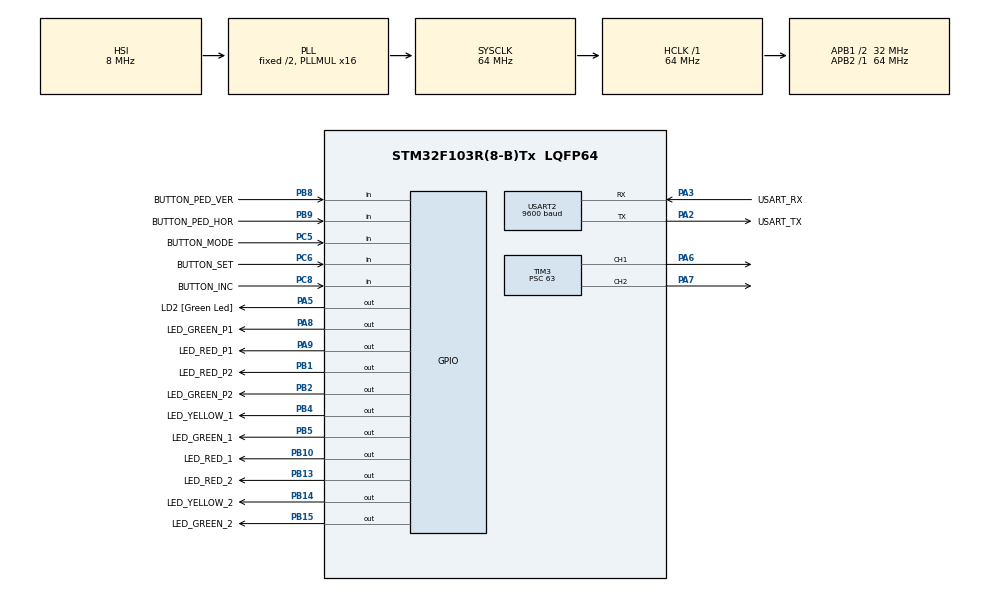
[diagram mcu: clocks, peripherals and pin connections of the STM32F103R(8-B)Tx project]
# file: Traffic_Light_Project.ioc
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Mcu.Family=STM32F1
Mcu.Name=STM32F103R(8-B)Tx
Mcu.Package=LQFP64
NVIC.PriorityGroup=NVIC_PRIORITYGROUP_4
NVIC.TIM3_IRQn=true\:0\:0\:false\:false\:true\:true\:true\:true
NVIC.USART2_IRQn=true\:0\:0\:false\:false\:true\:true\:true\:true
PA13.GPIO_Label=TMS
PA13.Mode=Serial_Wire
PA13.Signal=SYS_JTMS-SWDIO
PA14.GPIO_Label=TCK
PA14.Mode=Serial_Wire
PA14.Signal=SYS_JTCK-SWCLK
PA2.GPIO_Label=USART_TX
PA2.GPIO_Mode=GPIO_MODE_AF_PP
PA2.GPIO_PuPd=GPIO_NOPULL
PA2.GPIO_Speed=GPIO_SPEED_FREQ_LOW
PA2.Mode=Asynchronous
PA2.Signal=USART2_TX
PA3.GPIO_Label=USART_RX
PA3.GPIO_Mode=GPIO_MODE_AF_PP
PA3.GPIO_PuPd=GPIO_NOPULL
PA3.GPIO_Speed=GPIO_SPEED_FREQ_LOW
PA3.Mode=Asynchronous
PA3.Signal=USART2_RX
PA5.GPIO_Label=LD2 [Green Led]
PA5.GPIO_ModeDefaultOutputPP=GPIO_MODE_OUTPUT_PP
PA5.GPIO_PuPd=GPIO_NOPULL
PA5.GPIO_Speed=GPIO_SPEED_FREQ_LOW
PA5.Signal=GPIO_Output
PA6.Signal=S_TIM3_CH1
PA7.Signal=S_TIM3_CH2
PA8.GPIO_Label=LED_GREEN_P1
PA8.Signal=GPIO_Output
PA9.GPIO_Label=LED_RED_P1
PA9.Signal=GPIO_Output
PB1.GPIO_Label=LED_RED_P2
PB1.Signal=GPIO_Output
PB10.GPIO_Label=LED_RED_1
PB10.Signal=GPIO_Output
PB13.GPIO_Label=LED_RED_2
PB13.Signal=GPIO_Output
PB14.GPIO_Label=LED_YELLOW_2
PB14.Signal=GPIO_Output
PB15.GPIO_Label=LED_GREEN_2
PB15.Signal=GPIO_Output
PB2.GPIO_Label=LED_GREEN_P2
PB2.Signal=GPIO_Output
PB4.GPIO_Label=LED_YELLOW_1
PB4.Signal=GPIO_Output
PB5.GPIO_Label=LED_GREEN_1
PB5.Signal=GPIO_Output
PB8.GPIO_Label=BUTTON_PED_VER
PB8.GPIO_PuPd=GPIO_PULLUP
PB8.Signal=GPIO_Input
PB9.GPIO_Label=BUTTON_PED_HOR
PB9.GPIO_PuPd=GPIO_PULLUP
PB9.Signal=GPIO_Input
PC14-OSC32_IN.Mode=LSE-External-Oscillator
PC14-OSC32_IN.Signal=RCC_OSC32_IN
PC15-OSC32_OUT.Mode=LSE-External-Oscillator
PC15-OSC32_OUT.Signal=RCC_OSC32_OUT
PC5.GPIO_Label=BUTTON_MODE
PC5.GPIO_PuPd=GPIO_PULLUP
PC5.Signal=GPIO_Input
PC6.GPIO_Label=BUTTON_SET
PC6.GPIO_PuPd=GPIO_PULLUP
PC6.Signal=GPIO_Input
PC8.GPIO_Label=BUTTON_INC
PC8.GPIO_PuPd=GPIO_PULLUP
PC8.Signal=GPIO_Input
PD0-OSC_IN.Mode=HSE-External-Clock-Source
PD0-OSC_IN.Signal=RCC_OSC_IN
PD1-OSC_OUT.Mode=HSE-External-Clock-Source
PD1-OSC_OUT.Signal=RCC_OSC_OUT
ProjectManager.HeapSize=0x200
ProjectManager.StackSize=0x400
ProjectManager.TargetToolchain=STM32CubeIDE
RCC.AHBFreq_Value=64000000
RCC.APB1CLKDivider=RCC_HCLK_DIV2
RCC.APB1Freq_Value=32000000
RCC.APB1TimFreq_Value=64000000
RCC.APB2Freq_Value=64000000
RCC.APB2TimFreq_Value=64000000
RCC.HCLKFreq_Value=64000000
RCC.PLLMUL=RCC_PLL_MUL16
RCC.RTCClockSelection=RCC_RTCCLKSOURCE_LSE
RCC.SYSCLKFreq_VALUE=64000000
RCC.SYSCLKSource=RCC_SYSCLKSOURCE_PLLCLK
RCC.USBFreq_Value=64000000
SH.S_TIM3_CH1.0=TIM3_CH1,PWM Generation1 CH1
SH.S_TIM3_CH2.0=TIM3_CH2,PWM Generation2 CH2
TIM3.Channel-PWM\ Generation1\ CH1=TIM_CHANNEL_1
TIM3.Channel-PWM\ Generation2\ CH2=TIM_CHANNEL_2
TIM3.Period=999
TIM3.Prescaler=63
USART2.BaudRate=9600
USART2.VirtualMode=VM_ASYNC
VP_TIM3_VS_ClockSourceINT.Mode=Internal
board=NUCLEO-F103RB

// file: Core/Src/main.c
/* USER CODE BEGIN Header */
/**
  ******************************************************************************
  * @file           : main.c
  * @brief          : Main program body
  ******************************************************************************
  * @attention
  *
  * <h2><center>&copy; Copyright (c) 2023 STMicroelectronics.
  * All rights reserved.</center></h2>
  *
  * This software component is licensed by ST under BSD 3-Clause license,
  * the "License"; You may not use this file except in compliance with the
  * License. You may obtain a copy of the License at:
  *                        opensource.org/licenses/BSD-3-Clause
  *
  ******************************************************************************
  */
/* USER CODE END Header */
#include "main.h"

TIM_HandleTypeDef htim3;

UART_HandleTypeDef huart2;

void SystemClock_Config(void);
static void MX_GPIO_Init(void);
static void MX_USART2_UART_Init(void);
static void MX_TIM3_Init(void);
/* USER CODE BEGIN PFP */
void testIO()
{
	if (isButtonPressed(BUTTON_PED_HOR))
	{
		HAL_GPIO_TogglePin(LD2_GPIO_Port, LD2_Pin);
	}
	if (isButtonPressed(BUTTON_PED_VER))
	{
		HAL_GPIO_TogglePin(LED_GREEN_1_GPIO_Port, LED_GREEN_1_Pin);
	}
	if (isButtonPressed(BUTTON_MODE))
	{
		HAL_GPIO_TogglePin(LED_YELLOW_1_GPIO_Port, LED_YELLOW_1_Pin);
	}
	if (isButtonPressed(BUTTON_SET))
	{
		HAL_GPIO_TogglePin(LED_RED_1_GPIO_Port, LED_RED_1_Pin);
	}
	if (isButtonPressed(BUTTON_INC))
	{
		HAL_GPIO_TogglePin(LED_GREEN_P1_GPIO_Port, LED_GREEN_P1_Pin);
	}
}

void testBuzzer()
{
	for (int i = 500; i < 1000; i += 100)
	{
		__HAL_TIM_SetCompare(&htim3, TIM_CHANNEL_2, 500);
		HAL_Delay(1000);
		__HAL_TIM_SetCompare(&htim3, TIM_CHANNEL_2, 0);
		HAL_Delay(1000);
		__HAL_TIM_SetCompare(&htim3, TIM_CHANNEL_2, 600);
		HAL_Delay(1000);
		__HAL_TIM_SetCompare(&htim3, TIM_CHANNEL_2, 0);
		HAL_Delay(1000);
		__HAL_TIM_SetCompare(&htim3, TIM_CHANNEL_2, 800);
		HAL_Delay(1000);
		__HAL_TIM_SetCompare(&htim3, TIM_CHANNEL_2, 0);
		HAL_Delay(1000);
	}
}
/* USER CODE END PFP */

int main(void)
{

  /* MCU Configuration--------------------------------------------------------*/

  /* Reset of all peripherals, Initializes the Flash interface and the Systick. */
  HAL_Init();

  /* Configure the system clock */
  SystemClock_Config();

  /* Initialize all configured peripherals */
  MX_GPIO_Init();
  MX_USART2_UART_Init();
  MX_TIM3_Init();

  /* Infinite loop */
  /* USER CODE BEGIN WHILE */
  HAL_TIM_Base_Start_IT(&htim3);
  HAL_TIM_PWM_Start(&htim3, TIM_CHANNEL_1);
  HAL_TIM_PWM_Start(&htim3, TIM_CHANNEL_2);

  setTimer(7, BUTTON_TIME_STEP);
  while (1)
  {
//	  testBuzzer();
	  fsmAutoModeRun();
	  fsmManualModeRun();
	  fsmTuningModeRun();
	  fsmPedestrianModeRun();
	  uartProcessing();
	  buttonProcessing();
//	  testIO();
    /* USER CODE END WHILE */

  }
}

void SystemClock_Config(void)
{
  RCC_OscInitTypeDef RCC_OscInitStruct = {0};
  RCC_ClkInitTypeDef RCC_ClkInitStruct = {0};

  /** Initializes the RCC Oscillators according to the specified parameters
  * in the RCC_OscInitTypeDef structure.
  */
  RCC_OscInitStruct.OscillatorType = RCC_OSCILLATORTYPE_HSI;
  RCC_OscInitStruct.HSIState = RCC_HSI_ON;
  RCC_OscInitStruct.HSICalibrationValue = RCC_HSICALIBRATION_DEFAULT;
  RCC_OscInitStruct.PLL.PLLState = RCC_PLL_ON;
  RCC_OscInitStruct.PLL.PLLSource = RCC_PLLSOURCE_HSI_DIV2;
  RCC_OscInitStruct.PLL.PLLMUL = RCC_PLL_MUL16;
  if (HAL_RCC_OscConfig(&RCC_OscInitStruct) != HAL_OK)
  {
    Error_Handler();
  }
  /** Initializes the CPU, AHB and APB buses clocks
  */
  RCC_ClkInitStruct.ClockType = RCC_CLOCKTYPE_HCLK|RCC_CLOCKTYPE_SYSCLK
                              |RCC_CLOCKTYPE_PCLK1|RCC_CLOCKTYPE_PCLK2;
  RCC_ClkInitStruct.SYSCLKSource = RCC_SYSCLKSOURCE_PLLCLK;
  RCC_ClkInitStruct.AHBCLKDivider = RCC_SYSCLK_DIV1;
  RCC_ClkInitStruct.APB1CLKDivider = RCC_HCLK_DIV2;
  RCC_ClkInitStruct.APB2CLKDivider = RCC_HCLK_DIV1;

  if (HAL_RCC_ClockConfig(&RCC_ClkInitStruct, FLASH_LATENCY_2) != HAL_OK)
  {
    Error_Handler();
  }
}

static void MX_TIM3_Init(void)
{

  TIM_ClockConfigTypeDef sClockSourceConfig = {0};
  TIM_MasterConfigTypeDef sMasterConfig = {0};
  TIM_OC_InitTypeDef sConfigOC = {0};

  htim3.Instance = TIM3;
  htim3.Init.Prescaler = 63;
  htim3.Init.CounterMode = TIM_COUNTERMODE_UP;
  htim3.Init.Period = 999;
  htim3.Init.ClockDivision = TIM_CLOCKDIVISION_DIV1;
  htim3.Init.AutoReloadPreload = TIM_AUTORELOAD_PRELOAD_DISABLE;
  if (HAL_TIM_Base_Init(&htim3) != HAL_OK)
  {
    Error_Handler();
  }
  sClockSourceConfig.ClockSource = TIM_CLOCKSOURCE_INTERNAL;
  if (HAL_TIM_ConfigClockSource(&htim3, &sClockSourceConfig) != HAL_OK)
  {
    Error_Handler();
  }
  if (HAL_TIM_PWM_Init(&htim3) != HAL_OK)
  {
    Error_Handler();
  }
  sMasterConfig.MasterOutputTrigger = TIM_TRGO_RESET;
  sMasterConfig.MasterSlaveMode = TIM_MASTERSLAVEMODE_DISABLE;
  if (HAL_TIMEx_MasterConfigSynchronization(&htim3, &sMasterConfig) != HAL_OK)
  {
    Error_Handler();
  }
  sConfigOC.OCMode = TIM_OCMODE_PWM1;
  sConfigOC.Pulse = 0;
  sConfigOC.OCPolarity = TIM_OCPOLARITY_HIGH;
  sConfigOC.OCFastMode = TIM_OCFAST_DISABLE;
  if (HAL_TIM_PWM_ConfigChannel(&htim3, &sConfigOC, TIM_CHANNEL_1) != HAL_OK)
  {
    Error_Handler();
  }
  if (HAL_TIM_PWM_ConfigChannel(&htim3, &sConfigOC, TIM_CHANNEL_2) != HAL_OK)
  {
    Error_Handler();
  }
  HAL_TIM_MspPostInit(&htim3);

}

static void MX_USART2_UART_Init(void)
{

  huart2.Instance = USART2;
  huart2.Init.BaudRate = 9600;
  huart2.Init.WordLength = UART_WORDLENGTH_8B;
  huart2.Init.StopBits = UART_STOPBITS_1;
  huart2.Init.Parity = UART_PARITY_NONE;
  huart2.Init.Mode = UART_MODE_TX_RX;
  huart2.Init.HwFlowCtl = UART_HWCONTROL_NONE;
  huart2.Init.OverSampling = UART_OVERSAMPLING_16;
  if (HAL_UART_Init(&huart2) != HAL_OK)
  {
    Error_Handler();
  }

}

static void MX_GPIO_Init(void)
{
  GPIO_InitTypeDef GPIO_InitStruct = {0};

  /* GPIO Ports Clock Enable */
  __HAL_RCC_GPIOC_CLK_ENABLE();
  __HAL_RCC_GPIOD_CLK_ENABLE();
  __HAL_RCC_GPIOA_CLK_ENABLE();
  __HAL_RCC_GPIOB_CLK_ENABLE();

  /*Configure GPIO pin Output Level */
  HAL_GPIO_WritePin(GPIOA, LD2_Pin|LED_GREEN_P1_Pin|LED_RED_P1_Pin, GPIO_PIN_RESET);

  /*Configure GPIO pin Output Level */
  HAL_GPIO_WritePin(GPIOB, LED_RED_P2_Pin|LED_GREEN_P2_Pin|LED_RED_1_Pin|LED_RED_2_Pin
                          |LED_YELLOW_2_Pin|LED_GREEN_2_Pin|LED_YELLOW_1_Pin|LED_GREEN_1_Pin, GPIO_PIN_RESET);

  /*Configure GPIO pins : LD2_Pin LED_GREEN_P1_Pin LED_RED_P1_Pin */
  GPIO_InitStruct.Pin = LD2_Pin|LED_GREEN_P1_Pin|LED_RED_P1_Pin;
  GPIO_InitStruct.Mode = GPIO_MODE_OUTPUT_PP;
  GPIO_InitStruct.Pull = GPIO_NOPULL;
  GPIO_InitStruct.Speed = GPIO_SPEED_FREQ_LOW;
  HAL_GPIO_Init(GPIOA, &GPIO_InitStruct);

  /*Configure GPIO pins : BUTTON_MODE_Pin BUTTON_SET_Pin BUTTON_INC_Pin */
  GPIO_InitStruct.Pin = BUTTON_MODE_Pin|BUTTON_SET_Pin|BUTTON_INC_Pin;
  GPIO_InitStruct.Mode = GPIO_MODE_INPUT;
  GPIO_InitStruct.Pull = GPIO_PULLUP;
  HAL_GPIO_Init(GPIOC, &GPIO_InitStruct);

  /*Configure GPIO pins : LED_RED_P2_Pin LED_GREEN_P2_Pin LED_RED_1_Pin LED_RED_2_Pin
                           LED_YELLOW_2_Pin LED_GREEN_2_Pin LED_YELLOW_1_Pin LED_GREEN_1_Pin */
  GPIO_InitStruct.Pin = LED_RED_P2_Pin|LED_GREEN_P2_Pin|LED_RED_1_Pin|LED_RED_2_Pin
                          |LED_YELLOW_2_Pin|LED_GREEN_2_Pin|LED_YELLOW_1_Pin|LED_GREEN_1_Pin;
  GPIO_InitStruct.Mode = GPIO_MODE_OUTPUT_PP;
  GPIO_InitStruct.Pull = GPIO_NOPULL;
  GPIO_InitStruct.Speed = GPIO_SPEED_FREQ_LOW;
  HAL_GPIO_Init(GPIOB, &GPIO_InitStruct);

  /*Configure GPIO pins : BUTTON_PED_VER_Pin BUTTON_PED_HOR_Pin */
  GPIO_InitStruct.Pin = BUTTON_PED_VER_Pin|BUTTON_PED_HOR_Pin;
  GPIO_InitStruct.Mode = GPIO_MODE_INPUT;
  GPIO_InitStruct.Pull = GPIO_PULLUP;
  HAL_GPIO_Init(GPIOB, &GPIO_InitStruct);

}

/* USER CODE BEGIN 4 */
uint8_t buttonCounter = 10;
void HAL_TIM_PeriodElapsedCallback(TIM_HandleTypeDef *htim)
{
	timerRun();
}
/* USER CODE END 4 */

void Error_Handler(void)
{
  __disable_irq();
  while (1)
  {
  }
}

/************************ (C) COPYRIGHT STMicroelectronics *****END OF FILE****/
